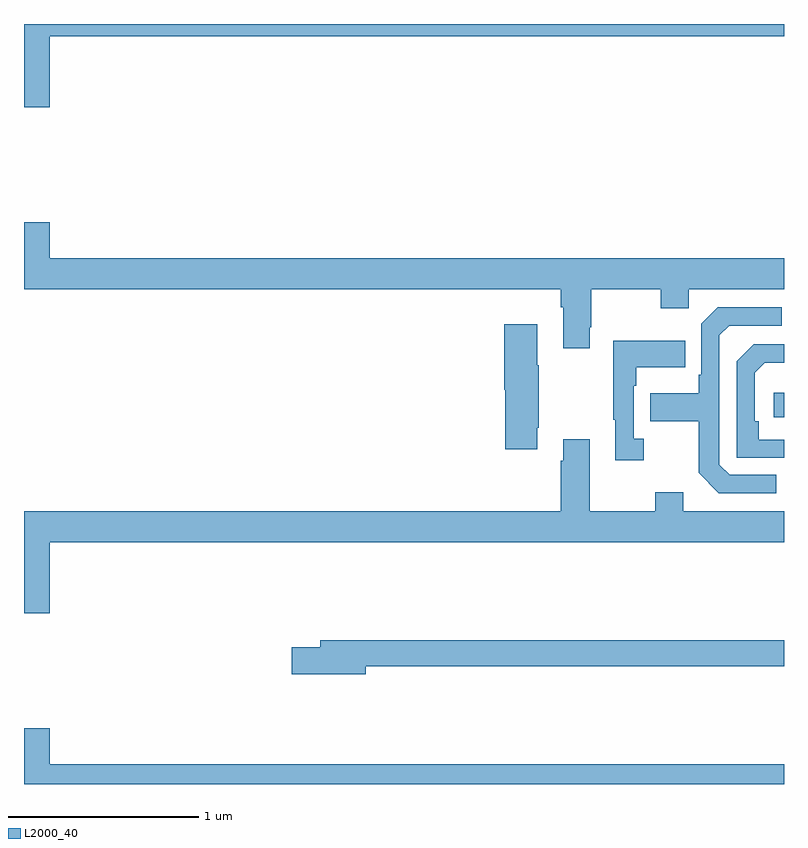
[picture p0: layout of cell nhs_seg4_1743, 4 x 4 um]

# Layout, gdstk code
import gdstk
lib = gdstk.Library(unit=1e-6, precision=1e-09)
def R(c, l, rs):  # rectangles x0, y0, x1, y1
    for r in rs: c.add(gdstk.rectangle(r[:2], r[2:], *l))
def P(c, l, *ps):  # polygons
    for p in ps: c.add(gdstk.Polygon(p, *l))
L2000_40 = (2000, 40)

nhs_seg4_1743 = lib.new_cell('nhs_seg4_1743')
R(nhs_seg4_1743, L2000_40, [(204.945,778.83,205,778.96)])
P(nhs_seg4_1743, L2000_40, [(201.136,780.836),(205,780.836),(205,780.9),(201,780.9),(201,780.462),(201.136,780.462)],
  [(203.977,779.305),(203.985,779.305),(203.985,779.504),(204.352,779.504),(204.352,779.405),(204.498,779.405),(204.498,779.504),(205,779.504),(205,779.668),(201.136,779.668),(201.136,779.857),(201,779.857),(201,779.504),(203.825,779.504),(203.825,779.408),(203.837,779.408),(203.837,779.193),(203.977,779.193)],
  [(204.958,778.527),(204.714,778.527),(204.66,778.581),(204.66,779.262),(204.711,779.313),(204.988,779.313),(204.988,779.409),(204.651,779.409),(204.564,779.322),(204.564,779.053),(204.552,779.053),(204.552,778.957),(204.295,778.957),(204.295,778.81),(204.552,778.81),(204.552,778.537),(204.657,778.431),(204.958,778.431)],
  [(203.701,778.774),(203.709,778.774),(203.709,779.105),(203.701,779.105),(203.701,779.32),(203.528,779.32),(203.528,778.974),(203.534,778.974),(203.534,778.662),(203.701,778.662)],
  [(204.262,778.718),(204.21,778.718),(204.21,778.997),(204.223,778.997),(204.223,779.093),(204.479,779.093),(204.479,779.233),(204.102,779.233),(204.102,778.817),(204.113,778.817),(204.113,778.605),(204.262,778.605)],
  [(205,778.713),(204.866,778.713),(204.866,778.81),(204.846,778.81),(204.846,779.064),(204.899,779.117),(205,779.117),(205,779.214),(204.84,779.214),(204.75,779.124),(204.75,778.617),(205,778.617)],
  [(201.136,778.172),(205,778.172),(205,778.336),(204.469,778.336),(204.469,778.435),(204.322,778.435),(204.322,778.336),(203.977,778.336),(203.977,778.714),(203.837,778.714),(203.837,778.601),(203.825,778.601),(203.825,778.336),(201,778.336),(201,777.798),(201.136,777.798)],
  [(202.798,777.52),(205,777.52),(205,777.656),(202.559,777.656),(202.559,777.62),(202.41,777.62),(202.41,777.478),(202.798,777.478)],
  [(205,777.004),(201.136,777.004),(201.136,777.193),(201,777.193),(201,776.9),(205,776.9)])

lib.write_gds('nhs_seg4_1743.gds')
